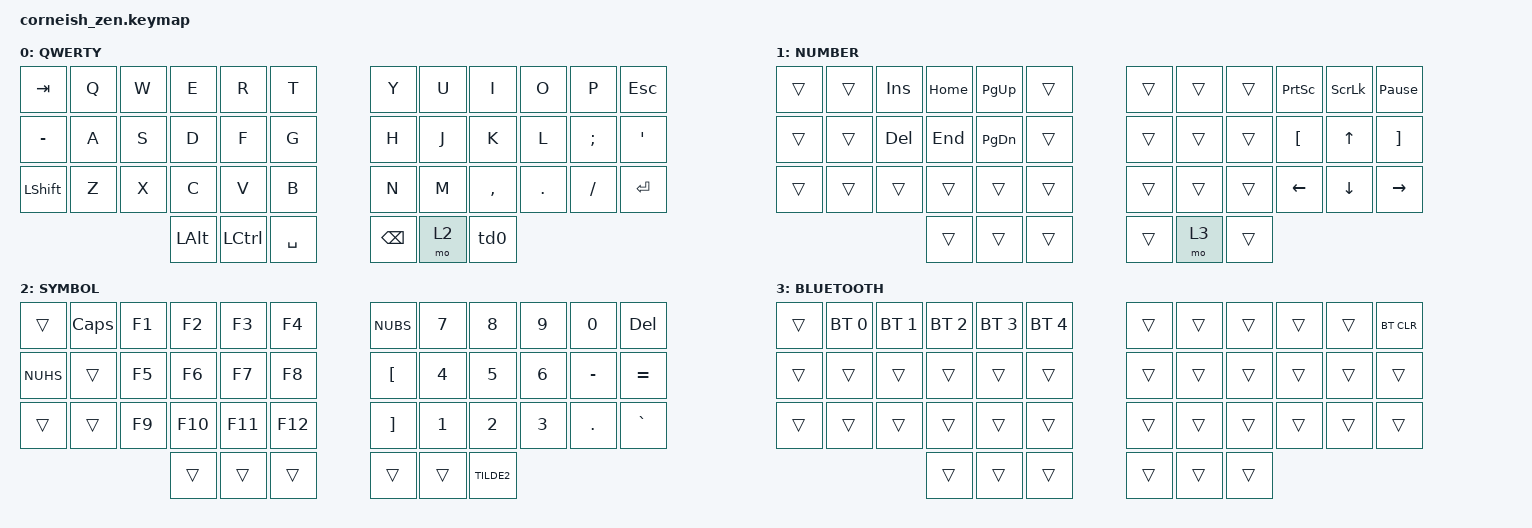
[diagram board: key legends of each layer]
#include <behaviors.dtsi>
#include <dt-bindings/zmk/keys.h>
#include <dt-bindings/zmk/bt.h>

/ {
  // Combo Keys
  // combos {
  //      compatible = "zmk,combos";
  //      combo_bt {
  //          timeout-ms = <180>;
  //          key-positions = <40 41>;
  //          bindings = <&mo 3>;
  //      };
  //  };
  
  // Tap Keys
    behaviors {
        td0: tap_dance_0 {
            compatible = "zmk,behavior-tap-dance";
            label = "TAP_DANCE_0";
            #binding-cells = <0>;
            tapping-term-ms = <180>;
            bindings = <&mo 1>, <&kp LGUI>;
        };
    };
  chosen {
    zmk,matrix_transform = &default_transform;
    //zmk,matrix_transform = &five_column_transform;
  };
  
        keymap {
                compatible = "zmk,keymap";

                default_layer {
                        label = "QWERTY";
// -----------------------------------------------------------------------------------------
// |  TAB |  Q  |  W  |  E  |  R   |  T  ||  Y  |  U   |  I  |  O  |  P  | ESC |
// | MINUS|  A  |  S  |  D  |  F   |  G  ||  H  |  J   |  K  |  L  |  ;  |  '  |
// | SHFT |  Z  |  X  |  C  |  V   |  B  ||  N  |  M   |  ,  |  .  |  /  | RET |
//                    | LALT| CTRL | SPC || BSPC| RSE  | GUI |
                        bindings = <
   &kp TAB   &kp Q &kp W &kp E &kp R &kp T   &kp Y &kp U  &kp I     &kp O   &kp P    &kp ESC
   &kp MINUS &kp A &kp S &kp D &kp F &kp G   &kp H &kp J  &kp K     &kp L   &kp SEMI &kp SQT
   &kp LSHFT &kp Z &kp X &kp C &kp V &kp B   &kp N &kp M  &kp COMMA &kp DOT &kp FSLH &kp RET
             &kp LALT  &kp LCTRL &kp SPACE   &kp BSPC &mo 2 &td0
                        >;
                };
                
                lower_layer {
                        label = "NUMBER";
// -----------------------------------------------------------------------------------------
// |     |     | INS |HOME |PG_UP|     ||    |    |    |PSCRN|SLCK |PAUSE_BREAK|
// |     |     | DEL | END |PG_DN|     ||    |    |    |LBKT | UP  |   RBKT    |
// |     |     |     |     |     |     ||    |    |    |LEFT |DOWN |   RIGHT   |
//                   |     |     |     ||    |mo 3|    |
                        bindings = <
  &trans &trans &kp INS &kp HOME &kp PG_UP &trans  &trans &trans &trans &kp PSCRN &kp SLCK &kp PAUSE_BREAK
  &trans &trans &kp DEL &kp END  &kp PG_DN &trans  &trans &trans &trans &kp LBKT  &kp UP   &kp RBKT
  &trans &trans &trans  &trans   &trans    &trans  &trans &trans &trans &kp LEFT  &kp DOWN &kp RIGHT
                        &trans   &trans    &trans  &trans &mo 3  &trans
                        >;
                };
                
                raise_layer {
                        label = "SYMBOL";
// -----------------------------------------------------------------------------------------
// |    |CAPS| F1 | F2 | F3 | F4 ||NUBS|  7 |  8  |  9  |  0  | DEL |
// |NUHS|    | F5 | F6 | F7 | F8 ||LBKT|  4 |  5  |  6  |MINUS|EQUAL|
// |    |    | F9 | F10| F11| F12||RBKT|  1 |  2  |  3  | DOT |GRAVE|
//                |    |    |    ||    |    |  ~  |
                        bindings = <
  &trans     &kp CAPS &kp F1 &kp F2  &kp F3  &kp F4  &kp NUBS &kp N7 &kp N8 &kp N9 &kp N0    &kp DEL
  &kp NUHS   &trans   &kp F5 &kp F6  &kp F7  &kp F8  &kp LBKT &kp N4 &kp N5 &kp N6 &kp MINUS &kp EQUAL 
  &trans     &trans   &kp F9 &kp F10 &kp F11 &kp F12 &kp RBKT &kp N1 &kp N2 &kp N3 &kp DOT   &kp GRAVE 
                         &trans  &trans   &trans &trans &trans &kp TILDE2
                        >;
                };

                bt_layer {
                        label = "BLUETOOTH";
// -----------------------------------------------------------------------------------------
// |    |BT 1|BT 2|BT 3|BT 4|BT 5||    |    |    |    |    |BT CLR|
// |    |    |    |    |    |    ||    |    |    |    |    |      |
// |    |    |    |    |    |    ||    |    |    |    |    |      |
//                |    |    |    ||    |    |    |
                        bindings = <
   &trans &bt BT_SEL 0 &bt BT_SEL 1 &bt BT_SEL 2 &bt BT_SEL 3 &bt BT_SEL 4  &trans &trans &trans &trans &trans &bt  BT_CLR 
   &trans &trans       &trans       &trans       &trans       &trans        &trans &trans &trans &trans &trans &trans
   &trans &trans       &trans       &trans       &trans       &trans        &trans &trans &trans &trans &trans &trans
                                    &trans       &trans       &trans        &trans &trans &trans
                        >;
                };
        };
};
